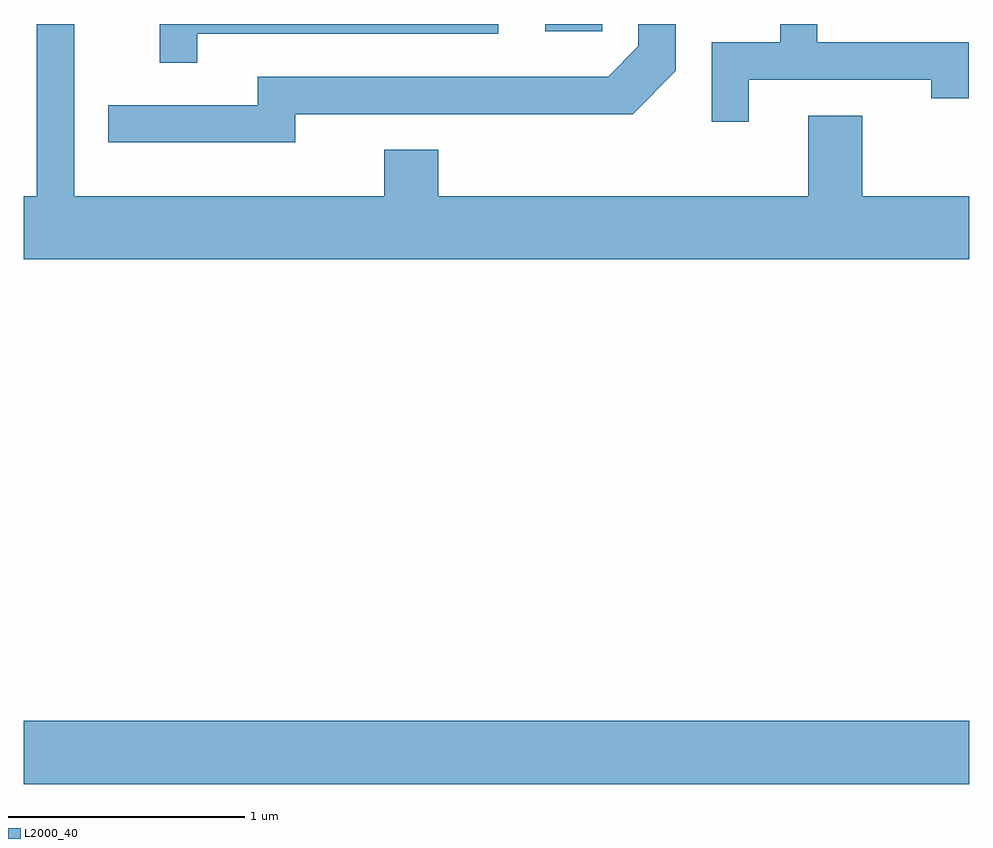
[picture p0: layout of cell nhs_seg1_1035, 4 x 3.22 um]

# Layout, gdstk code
import gdstk
lib = gdstk.Library(unit=1e-6, precision=1e-09)
def R(c, l, rs):  # rectangles x0, y0, x1, y1
    for r in rs: c.add(gdstk.rectangle(r[:2], r[2:], *l))
def P(c, l, *ps):  # polygons
    for p in ps: c.add(gdstk.Polygon(p, *l))
L2000_40 = (2000, 40)

nhs_seg1_1035 = lib.new_cell('nhs_seg1_1035')
R(nhs_seg1_1035, L2000_40, [(217.611,868.496,221.611,868.764), (219.818,871.681,220.059,871.712)])
P(nhs_seg1_1035, L2000_40, [(221.611,870.984),(221.159,870.984),(221.159,871.324),(220.931,871.324),(220.931,870.984),(219.364,870.984),(219.364,871.179),(219.136,871.179),(219.136,870.984),(217.824,870.984),(217.824,871.712),(217.666,871.712),(217.666,870.984),(217.611,870.984),(217.611,870.716),(221.611,870.716)],
  [(218.344,871.671),(219.618,871.671),(219.618,871.712),(218.186,871.712),(218.186,871.548),(218.344,871.548)],
  [(218.759,871.331),(220.187,871.331),(220.369,871.514),(220.369,871.712),(220.211,871.712),(220.211,871.617),(220.084,871.489),(218.601,871.489),(218.601,871.369),(217.968,871.369),(217.968,871.211),(218.759,871.211)],
  [(220.679,871.476),(221.451,871.476),(221.451,871.398),(221.609,871.398),(221.609,871.634),(220.969,871.634),(220.969,871.712),(220.811,871.712),(220.811,871.634),(220.521,871.634),(220.521,871.298),(220.679,871.298)])

lib.write_gds('nhs_seg1_1035.gds')
